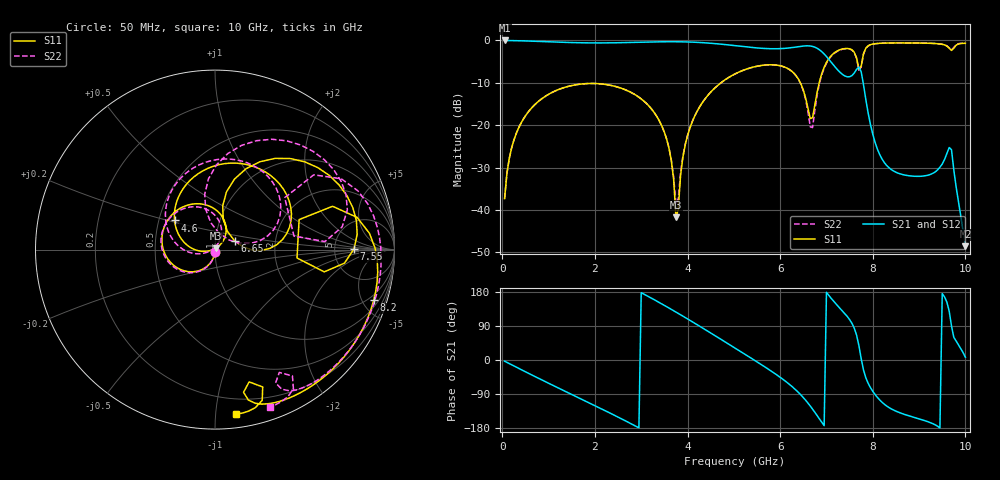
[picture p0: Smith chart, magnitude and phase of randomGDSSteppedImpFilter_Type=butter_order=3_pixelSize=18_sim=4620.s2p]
! freq	dB(S11)	phase(S11)	dB(S12)	phase(S12)
!  dB(S21)	phase(S21)	dB(S22)	phase(S22)
!S-par simulation data
#  GHz  S  DB  R 50
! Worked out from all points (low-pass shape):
!   200 points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, 50 MHz to 10 GHz, reference 50 ohm
!   highest |S21| = -0.01 dB at 50 MHz (marker M1); lowest = -48.6 dB at 10 GHz (marker M2)
!   |S21| within 3 dB of the highest: start of sweep to 6.932 GHz
!   lowest |S11| = -41.7 dB at 3.75 GHz (marker M3), VSWR 1.02, Z = 50.4 + j0.73 ohm
!   |S11| at or under -10 dB: start of sweep to 4.722 GHz; 6.436 GHz to 6.843 GHz (407.2 MHz wide, 6.13 % of centre)
!   |S22| runs from -38.7 to -0.6 dB; largest |S21 - S12| = 0
!   S11 on the Smith chart (normalised r, x): 50 MHz: 1.00, -0.03; 4.6 GHz: 0.60, +0.21; 6.65 GHz: 1.24, +0.12; 7.55 GHz: 7.88, +0.16; 8.2 GHz: 1.49, -6.06; 10 GHz: 0.09, -1.13
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0.05  -37.33 -92.6  -0.01 -3.2  -0.01 -3.2  -37.33 -92.5
0.2  -25.44 -102.8  -0.03 -12.5  -0.03 -12.5  -25.44 -102.3
0.5  -17.80 -122.2  -0.12 -31.1  -0.12 -31.1  -17.80 -120.7
1.75  -10.24 160.9  -0.56 -105.8  -0.56 -105.8  -10.24 166.5
2.65  -11.61 105.4  -0.51 -160.0  -0.51 -160.0  -11.62 114.6
3.4  -19.17 56.5  -0.32 151.0  -0.32 151.0  -19.17 70.4
3.65  -28.35 43.1  -0.30 133.6  -0.30 133.6  -28.20 63.2
3.75  -41.71 61.9  -0.31 126.5  -0.31 126.5  -38.66 97.5
4  -22.47 -172.8  -0.36 108.5  -0.36 108.5  -22.38 -163.1
4.6  -11.12 144.2  -0.75 63.7  -0.75 63.7  -11.12 158.8
5.05  -7.77 110.2  -1.26 29.6  -1.26 29.6  -7.78 126.2
5.95  -5.87 41.4  -1.96 -41.2  -1.96 -41.2  -5.88 57.7
6.4  -9.22 4.6  -1.47 -86.2  -1.47 -86.2  -9.28 18.6
6.65  -18.45 24.4  -1.31 -121.4  -1.31 -121.4  -20.38 33.4
6.7  -18.23 55.5  -1.41 -129.6  -1.41 -129.6  -20.56 75.7
7.15  -3.11 44.4  -5.78 155.7  -5.78 155.7  -3.21 62.8
7.55  -2.22 0.3  -8.29 96.9  -8.29 96.9  -2.27 16.7
7.75  -6.06 19.6  -7.40 3.4  -7.40 3.4  -6.30 36.7
8.2  -0.65 -17.7  -27.99 -111.4  -27.99 -111.4  -0.66 -2.4
8.35  -0.60 -25.9  -30.04 -125.4  -30.04 -125.4  -0.61 -10.9
9.7  -2.37 -75.5  -25.78 89.9  -25.78 89.9  -2.24 -62.3
10  -0.68 -82.7  -48.56 7.3  -48.56 7.3  -0.64 -70.6
